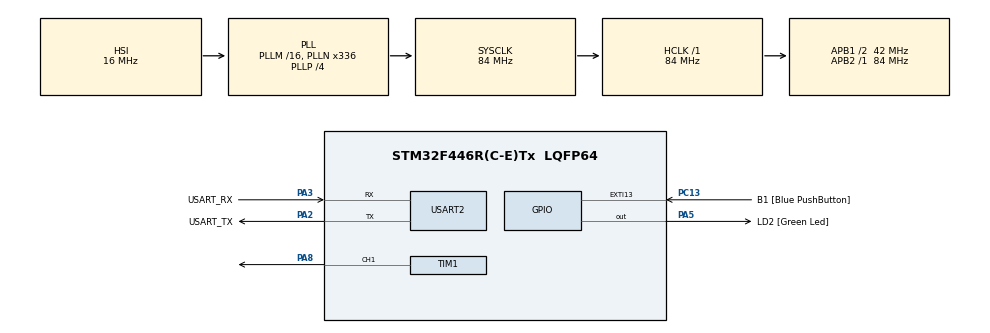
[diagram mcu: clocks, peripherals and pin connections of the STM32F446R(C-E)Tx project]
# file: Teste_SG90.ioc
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Mcu.Family=STM32F4
Mcu.Name=STM32F446R(C-E)Tx
Mcu.Package=LQFP64
NVIC.PriorityGroup=NVIC_PRIORITYGROUP_0
NVIC.USART2_IRQn=true\:0\:0\:false\:false\:true\:true\:true\:true
PA13.GPIO_Label=TMS
PA13.Mode=Serial_Wire
PA13.Signal=SYS_JTMS-SWDIO
PA14.GPIO_Label=TCK
PA14.Mode=Serial_Wire
PA14.Signal=SYS_JTCK-SWCLK
PA2.GPIO_Label=USART_TX
PA2.Mode=Asynchronous
PA2.Signal=USART2_TX
PA3.GPIO_Label=USART_RX
PA3.Mode=Asynchronous
PA3.Signal=USART2_RX
PA5.GPIO_Label=LD2 [Green Led]
PA5.Signal=GPIO_Output
PA8.Signal=S_TIM1_CH1
PB3.GPIO_Label=SWO
PB3.Signal=SYS_JTDO-SWO
PC13.GPIO_Label=B1 [Blue PushButton]
PC13.GPIO_ModeDefaultEXTI=GPIO_MODE_IT_FALLING
PC13.Signal=GPXTI13
PC14-OSC32_IN.Mode=LSE-External-Oscillator
PC14-OSC32_IN.Signal=RCC_OSC32_IN
PC15-OSC32_OUT.Mode=LSE-External-Oscillator
PC15-OSC32_OUT.Signal=RCC_OSC32_OUT
PH0-OSC_IN.Mode=HSE-External-Oscillator
PH0-OSC_IN.Signal=RCC_OSC_IN
PH1-OSC_OUT.Mode=HSE-External-Oscillator
PH1-OSC_OUT.Signal=RCC_OSC_OUT
ProjectManager.HeapSize=0x200
ProjectManager.StackSize=0x400
ProjectManager.TargetToolchain=STM32CubeIDE
RCC.48MHZClocksFreq_Value=84000000
RCC.AHBFreq_Value=84000000
RCC.APB1CLKDivider=RCC_HCLK_DIV2
RCC.APB1Freq_Value=42000000
RCC.APB1TimFreq_Value=84000000
RCC.APB2Freq_Value=84000000
RCC.APB2TimFreq_Value=84000000
RCC.CortexFreq_Value=84000000
RCC.FLatency-AdvancedSettings=FLASH_LATENCY_2
RCC.HCLKFreq_Value=84000000
RCC.HSE_VALUE=8000000
RCC.HSI_VALUE=16000000
RCC.PLLN=336
RCC.PLLP=RCC_PLLP_DIV4
RCC.SYSCLKFreq_VALUE=84000000
RCC.SYSCLKSource=RCC_SYSCLKSOURCE_PLLCLK
RCC.USBFreq_Value=168000000
RCC.VCOOutputFreq_Value=336000000
SH.S_TIM1_CH1.0=TIM1_CH1,PWM Generation1 CH1
TIM1.AutoReloadPreload=TIM_AUTORELOAD_PRELOAD_ENABLE
TIM1.Channel-PWM\ Generation1\ CH1=TIM_CHANNEL_1
TIM1.Period=(10000 - 1)
TIM1.Prescaler=(168 - 1)
TIM1.Pulse-PWM\ Generation1\ CH1=5000
USART2.VirtualMode=VM_ASYNC
VP_TIM1_VS_ClockSourceINT.Mode=Internal
board=NUCLEO-F446RE

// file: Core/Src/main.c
/* USER CODE BEGIN Header */
/**
  ******************************************************************************
  * @file           : main.c
  * @brief          : Main program body
  ******************************************************************************
  * @attention
  *
  * Copyright (c) 2025 STMicroelectronics.
  * All rights reserved.
  *
  * This software is licensed under terms that can be found in the LICENSE file
  * in the root directory of this software component.
  * If no LICENSE file comes with this software, it is provided AS-IS.
  *
  ******************************************************************************
  */
/* USER CODE END Header */
#include "main.h"
#include "tim.h"
#include "usart.h"
#include "gpio.h"

/* USER CODE BEGIN PV */
int recebido[4];
/* USER CODE END PV */

void SystemClock_Config(void);
/* USER CODE BEGIN PFP */
int map(int x, int in_min, int in_max, int out_min, int out_max);
void servo_Write(int angulo);
/* USER CODE END PFP */

int main(void)
{

  /* MCU Configuration--------------------------------------------------------*/

  /* Reset of all peripherals, Initializes the Flash interface and the Systick. */
  HAL_Init();

  /* Configure the system clock */
  SystemClock_Config();

  /* Initialize all configured peripherals */
  MX_GPIO_Init();
  MX_USART2_UART_Init();
  MX_TIM1_Init();
  /* USER CODE BEGIN 2 */
  HAL_TIM_PWM_Start(&htim1, TIM_CHANNEL_1);
  HAL_UART_Receive_IT(&huart2, recebido, 3);
  __HAL_TIM_SET_COMPARE(&htim1, TIM_CHANNEL_1, 500);
  /* USER CODE END 2 */

  /* Infinite loop */
  while (1)
  {

  }
}

void SystemClock_Config(void)
{
  RCC_OscInitTypeDef RCC_OscInitStruct = {0};
  RCC_ClkInitTypeDef RCC_ClkInitStruct = {0};

  /** Configure the main internal regulator output voltage
  */
  __HAL_RCC_PWR_CLK_ENABLE();
  __HAL_PWR_VOLTAGESCALING_CONFIG(PWR_REGULATOR_VOLTAGE_SCALE3);

  /** Initializes the RCC Oscillators according to the specified parameters
  * in the RCC_OscInitTypeDef structure.
  */
  RCC_OscInitStruct.OscillatorType = RCC_OSCILLATORTYPE_HSI;
  RCC_OscInitStruct.HSIState = RCC_HSI_ON;
  RCC_OscInitStruct.HSICalibrationValue = RCC_HSICALIBRATION_DEFAULT;
  RCC_OscInitStruct.PLL.PLLState = RCC_PLL_ON;
  RCC_OscInitStruct.PLL.PLLSource = RCC_PLLSOURCE_HSI;
  RCC_OscInitStruct.PLL.PLLM = 16;
  RCC_OscInitStruct.PLL.PLLN = 336;
  RCC_OscInitStruct.PLL.PLLP = RCC_PLLP_DIV4;
  RCC_OscInitStruct.PLL.PLLQ = 2;
  RCC_OscInitStruct.PLL.PLLR = 2;
  if (HAL_RCC_OscConfig(&RCC_OscInitStruct) != HAL_OK)
  {
    Error_Handler();
  }

  /** Initializes the CPU, AHB and APB buses clocks
  */
  RCC_ClkInitStruct.ClockType = RCC_CLOCKTYPE_HCLK|RCC_CLOCKTYPE_SYSCLK
                              |RCC_CLOCKTYPE_PCLK1|RCC_CLOCKTYPE_PCLK2;
  RCC_ClkInitStruct.SYSCLKSource = RCC_SYSCLKSOURCE_PLLCLK;
  RCC_ClkInitStruct.AHBCLKDivider = RCC_SYSCLK_DIV1;
  RCC_ClkInitStruct.APB1CLKDivider = RCC_HCLK_DIV2;
  RCC_ClkInitStruct.APB2CLKDivider = RCC_HCLK_DIV1;

  if (HAL_RCC_ClockConfig(&RCC_ClkInitStruct, FLASH_LATENCY_2) != HAL_OK)
  {
    Error_Handler();
  }
}

/* USER CODE BEGIN 4 */
int map(int x, int in_min, int in_max, int out_min, int out_max)
{
	return ((x - in_min) * (out_max - out_min) / (in_max - in_min) + out_min);
}

void servo_Write(int angulo)
{
	if(angulo < 0 || angulo > 180) angulo = 90; // posição "segura" caso o ângulo seja inválido

	angulo = map(angulo, 0, 180, 500, 1000); // normaliza o valor para uma faixa de 500 a 1000
	__HAL_TIM_SET_COMPARE(&htim1, TIM_CHANNEL_1, angulo);
}

void HAL_UART_RxCpltCallback(UART_HandleTypeDef *huart)
{
	recebido[3] = '\0'; // necessário para usar a função atoi
	int valor = atoi(recebido); // converte o char para int

	servo_Write(valor); // atualiza a posição do servo
	HAL_UART_Receive_IT(&huart2, recebido, 3);
}
/* USER CODE END 4 */

void Error_Handler(void)
{
  __disable_irq();
  while (1)
  {
  }
}
